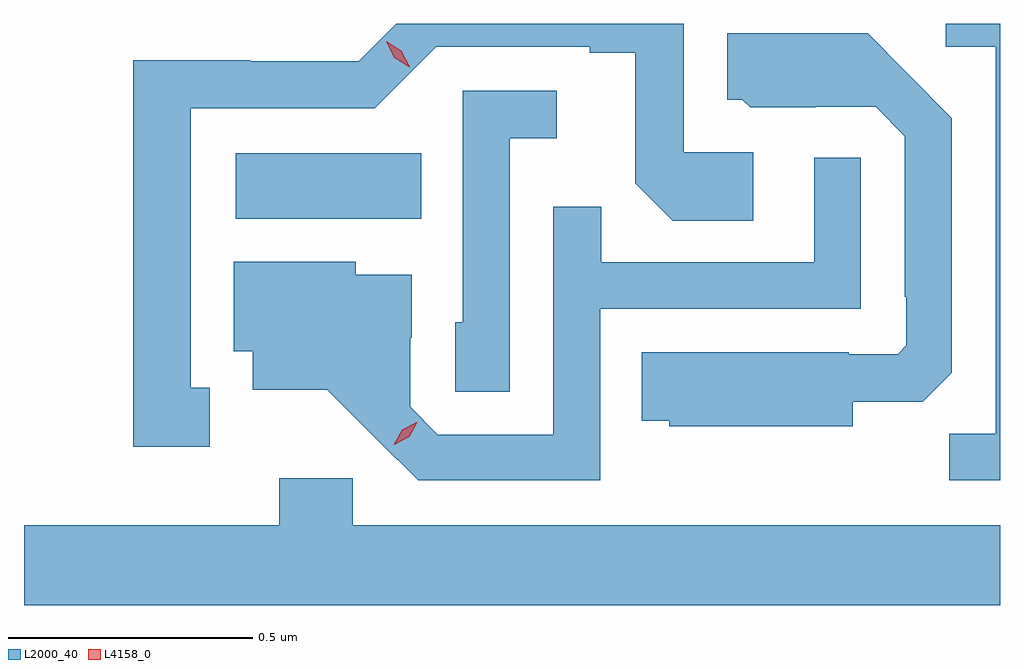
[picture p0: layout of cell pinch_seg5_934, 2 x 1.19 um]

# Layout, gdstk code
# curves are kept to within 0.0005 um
import gdstk
lib = gdstk.Library(unit=1e-6, precision=1e-09)
def R(c, l, rs):  # rectangles x0, y0, x1, y1
    for r in rs: c.add(gdstk.rectangle(r[:2], r[2:], *l))
def P(c, l, *ps):  # polygons
    for p in ps: c.add(gdstk.Polygon(p, *l))
L2000_40 = (2000, 40)
L4158_0 = (4158, 0)

pinch_seg5_934 = lib.new_cell('pinch_seg5_934')
R(pinch_seg5_934, L2000_40, [(755.646,890.852,756.026,890.986)])
P(pinch_seg5_934, L2000_40, [(757.212,891.251),(757.101,891.251),(757.101,891.204),(757.203,891.204),(757.203,890.411),(757.108,890.411),(757.108,890.316),(757.212,890.316)],
  [(755.593,890.505),(755.554,890.505),(755.554,891.078),(755.931,891.078),(756.057,891.204),(756.371,891.204),(756.371,891.192),(756.465,891.192),(756.465,890.924),(756.541,890.848),(756.706,890.848),(756.706,890.988),(756.564,890.988),(756.564,891.251),(755.975,891.251),(755.898,891.174),(755.676,891.174),(755.676,891.176),(755.436,891.176),(755.436,890.385),(755.593,890.385)],
  [(756.91,890.477),(757.054,890.477),(757.113,890.536),(757.113,891.058),(756.941,891.232),(756.653,891.232),(756.653,891.096),(756.684,891.096),(756.7,891.08),(756.834,891.08),(756.834,891.081),(756.957,891.081),(757.017,891.021),(757.017,890.692),(757.02,890.692),(757.02,890.592),(757.002,890.574),(756.902,890.574),(756.902,890.578),(756.478,890.578),(756.478,890.438),(756.534,890.438),(756.534,890.426),(756.91,890.426)],
  [(756.207,891.017),(756.304,891.017),(756.304,891.114),(756.111,891.114),(756.111,890.64),(756.096,890.64),(756.096,890.497),(756.207,890.497)],
  [(756.393,890.667),(756.927,890.667),(756.927,890.977),(756.831,890.977),(756.831,890.763),(756.395,890.763),(756.395,890.876),(756.297,890.876),(756.297,890.409),(756.06,890.409),(756.003,890.466),(756.003,890.608),(756.007,890.608),(756.007,890.737),(755.892,890.737),(755.892,890.764),(755.642,890.764),(755.642,890.58),(755.681,890.58),(755.681,890.501),(755.833,890.501),(756.02,890.316),(756.393,890.316)],
  [(757.212,890.224),(755.886,890.224),(755.886,890.32),(755.735,890.32),(755.735,890.224),(755.212,890.224),(755.212,890.06),(757.212,890.06)])
P(pinch_seg5_934, L4158_0, [(756.002,891.162),(755.971,891.182),(755.954,891.215),(755.954,891.215),(755.954,891.215),(755.985,891.196),(756.002,891.163),(756.002,891.162)],
  [(755.97,890.389),(755.97,890.389),(755.987,890.419),(756.017,890.435),(756.018,890.435),(756.018,890.435),(756.001,890.405),(755.971,890.389)])

lib.write_gds('pinch_seg5_934.gds')
